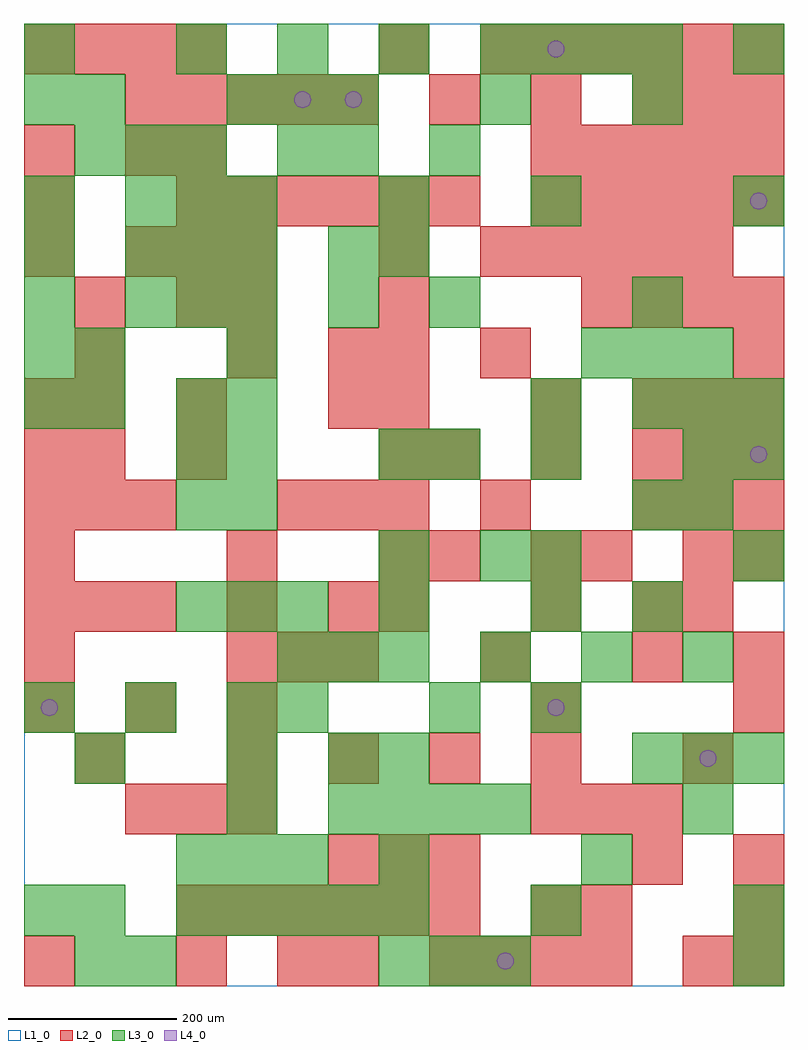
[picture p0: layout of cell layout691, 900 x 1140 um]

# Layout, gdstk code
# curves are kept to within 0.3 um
import gdstk
lib = gdstk.Library(unit=1e-6, precision=1e-09)
def R(c, l, rs):  # rectangles x0, y0, x1, y1
    for r in rs: c.add(gdstk.rectangle(r[:2], r[2:], *l))
def A(c, l, x, y, w, h, nx, ny, dx, dy):  # array of equal rectangles
    R(c, l, [(x+i*dx, y+j*dy, x+i*dx+w, y+j*dy+h) for i in range(nx) for j in range(ny)])
def P(c, l, *ps):  # polygons
    for p in ps: c.add(gdstk.Polygon(p, *l))
L1_0 = (1, 0)
L2_0 = (2, 0)
L3_0 = (3, 0)
L4_0 = (4, 0)

layout691 = lib.new_cell('layout691')
R(layout691, L1_0, [(0,0,900,1140)])
A(layout691, L2_0, 480, 0, 60, 60, 4, 1, 60, 0)
A(layout691, L2_0, 840, 0, 60, 60, 1, 3, 0, 60)
A(layout691, L2_0, 180, 60, 60, 60, 6, 2, 60, 840)
A(layout691, L2_0, 360, 120, 60, 60, 3, 1, 60, 0)
A(layout691, L2_0, 120, 180, 60, 60, 3, 2, 60, 660)
A(layout691, L2_0, 600, 180, 60, 60, 3, 1, 60, 0)
A(layout691, L2_0, 240, 240, 60, 60, 4, 1, 120, 0)
A(layout691, L2_0, 0, 300, 60, 60, 3, 1, 120, 0)
A(layout691, L2_0, 0, 360, 60, 60, 1, 3, 0, 120)
A(layout691, L2_0, 240, 360, 60, 60, 3, 1, 60, 0)
A(layout691, L2_0, 540, 360, 60, 60, 1, 3, 0, 180)
A(layout691, L2_0, 840, 360, 60, 60, 1, 4, 0, 120)
A(layout691, L2_0, 0, 420, 60, 60, 3, 2, 60, 120)
A(layout691, L2_0, 300, 540, 60, 60, 3, 1, 60, 0)
A(layout691, L2_0, 720, 540, 60, 60, 3, 2, 60, 120)
A(layout691, L2_0, 60, 600, 60, 60, 1, 4, 0, 60)
A(layout691, L2_0, 420, 600, 60, 60, 1, 5, 0, 60)
A(layout691, L2_0, 480, 600, 60, 60, 3, 2, 120, 420)
A(layout691, L2_0, 660, 780, 60, 60, 4, 1, 60, 0)
A(layout691, L2_0, 0, 840, 60, 60, 1, 3, 0, 60)
A(layout691, L2_0, 540, 840, 60, 60, 5, 1, 60, 0)
A(layout691, L2_0, 600, 900, 60, 60, 5, 2, 60, 60)
A(layout691, L2_0, 120, 1020, 60, 60, 5, 1, 60, 0)
A(layout691, L2_0, 0, 1080, 60, 60, 4, 1, 60, 0)
A(layout691, L2_0, 540, 1080, 60, 60, 6, 1, 60, 0)
R(layout691, L2_0, [(0,0,60,60), (180,0,240,60), (300,0,360,60), (360,0,420,60), (780,0,840,60), (600,60,660,120), (660,60,720,120), (720,120,780,180), (60,240,120,300), (780,240,840,300), (600,300,660,360), (840,300,900,360), (720,360,780,420), (240,420,300,480), (360,420,420,480), (420,420,480,480), (600,420,660,480), (720,420,780,480), (780,420,840,480), (240,480,300,540), (420,480,480,540), (480,480,540,540), (600,480,660,540), (660,480,720,540), (780,480,840,540), (180,600,240,660), (780,600,840,660), (0,660,60,720), (180,660,240,720), (360,660,420,720), (600,660,660,720), (240,720,300,780), (360,720,420,780), (180,780,240,840), (240,780,300,840), (120,960,180,1020), (180,960,240,1020), (780,1020,840,1080), (840,1020,900,1080), (420,1080,480,1140)])
A(layout691, L3_0, 420, 0, 60, 60, 3, 1, 60, 0)
A(layout691, L3_0, 180, 60, 60, 60, 5, 1, 60, 0)
A(layout691, L3_0, 180, 120, 60, 60, 3, 2, 60, 300)
A(layout691, L3_0, 360, 180, 60, 60, 4, 1, 60, 0)
A(layout691, L3_0, 720, 240, 60, 60, 3, 2, 60, 420)
A(layout691, L3_0, 0, 300, 60, 60, 3, 1, 120, 0)
A(layout691, L3_0, 300, 360, 60, 60, 3, 1, 60, 0)
A(layout691, L3_0, 540, 360, 60, 60, 3, 1, 120, 0)
A(layout691, L3_0, 180, 540, 60, 60, 1, 3, 0, 60)
A(layout691, L3_0, 240, 540, 60, 60, 1, 4, 0, 60)
A(layout691, L3_0, 720, 540, 60, 60, 1, 3, 0, 240)
A(layout691, L3_0, 480, 600, 60, 60, 1, 3, 0, 180)
A(layout691, L3_0, 0, 660, 60, 60, 1, 5, 0, 60)
A(layout691, L3_0, 660, 720, 60, 60, 3, 1, 60, 0)
A(layout691, L3_0, 120, 780, 60, 60, 3, 3, 60, 60)
A(layout691, L3_0, 60, 960, 60, 60, 3, 1, 60, 0)
A(layout691, L3_0, 240, 1020, 60, 60, 3, 1, 60, 0)
A(layout691, L3_0, 180, 1080, 60, 60, 4, 1, 120, 0)
A(layout691, L3_0, 600, 1080, 60, 60, 3, 1, 60, 0)
R(layout691, L3_0, [(60,0,120,60), (120,0,180,60), (840,0,900,60), (0,60,60,120), (60,60,120,120), (600,60,660,120), (840,60,900,120), (420,120,480,180), (660,120,720,180), (240,180,300,240), (780,180,840,240), (60,240,120,300), (240,240,300,300), (360,240,420,300), (420,240,480,300), (300,300,360,360), (480,300,540,360), (600,300,660,360), (420,420,480,480), (600,420,660,480), (720,420,780,480), (420,480,480,540), (540,480,600,540), (600,480,660,540), (840,480,900,540), (780,540,840,600), (420,600,480,660), (600,600,660,660), (780,600,840,660), (840,600,900,660), (60,660,120,720), (600,660,660,720), (60,720,120,780), (360,780,420,840), (360,840,420,900), (420,840,480,900), (420,900,480,960), (600,900,660,960), (840,900,900,960), (300,960,360,1020), (360,960,420,1020), (0,1020,60,1080), (60,1020,120,1080), (540,1020,600,1080), (0,1080,60,1140), (840,1080,900,1140)])
P(layout691, L4_0, [(40,330),(39.239,333.827),(37.071,337.071),(33.827,339.239),(30,340),(26.173,339.239),(22.929,337.071),(20.761,333.827),(20,330),(20.761,326.173),(22.929,322.929),(26.173,320.761),(30,320),(33.827,320.761),(37.071,322.929),(39.239,326.173)],
  [(340,1050),(339.239,1053.827),(337.071,1057.071),(333.827,1059.239),(330,1060),(326.173,1059.239),(322.929,1057.071),(320.761,1053.827),(320,1050),(320.761,1046.173),(322.929,1042.929),(326.173,1040.761),(330,1040),(333.827,1040.761),(337.071,1042.929),(339.239,1046.173)],
  [(400,1050),(399.239,1053.827),(397.071,1057.071),(393.827,1059.239),(390,1060),(386.173,1059.239),(382.929,1057.071),(380.761,1053.827),(380,1050),(380.761,1046.173),(382.929,1042.929),(386.173,1040.761),(390,1040),(393.827,1040.761),(397.071,1042.929),(399.239,1046.173)],
  [(580,30),(579.239,33.827),(577.071,37.071),(573.827,39.239),(570,40),(566.173,39.239),(562.929,37.071),(560.761,33.827),(560,30),(560.761,26.173),(562.929,22.929),(566.173,20.761),(570,20),(573.827,20.761),(577.071,22.929),(579.239,26.173)],
  [(640,330),(639.239,333.827),(637.071,337.071),(633.827,339.239),(630,340),(626.173,339.239),(622.929,337.071),(620.761,333.827),(620,330),(620.761,326.173),(622.929,322.929),(626.173,320.761),(630,320),(633.827,320.761),(637.071,322.929),(639.239,326.173)],
  [(640,1110),(639.239,1113.827),(637.071,1117.071),(633.827,1119.239),(630,1120),(626.173,1119.239),(622.929,1117.071),(620.761,1113.827),(620,1110),(620.761,1106.173),(622.929,1102.929),(626.173,1100.761),(630,1100),(633.827,1100.761),(637.071,1102.929),(639.239,1106.173)],
  [(820,270),(819.239,273.827),(817.071,277.071),(813.827,279.239),(810,280),(806.173,279.239),(802.929,277.071),(800.761,273.827),(800,270),(800.761,266.173),(802.929,262.929),(806.173,260.761),(810,260),(813.827,260.761),(817.071,262.929),(819.239,266.173)],
  [(880,630),(879.239,633.827),(877.071,637.071),(873.827,639.239),(870,640),(866.173,639.239),(862.929,637.071),(860.761,633.827),(860,630),(860.761,626.173),(862.929,622.929),(866.173,620.761),(870,620),(873.827,620.761),(877.071,622.929),(879.239,626.173)],
  [(880,930),(879.239,933.827),(877.071,937.071),(873.827,939.239),(870,940),(866.173,939.239),(862.929,937.071),(860.761,933.827),(860,930),(860.761,926.173),(862.929,922.929),(866.173,920.761),(870,920),(873.827,920.761),(877.071,922.929),(879.239,926.173)])

lib.write_gds('layout691.gds')
